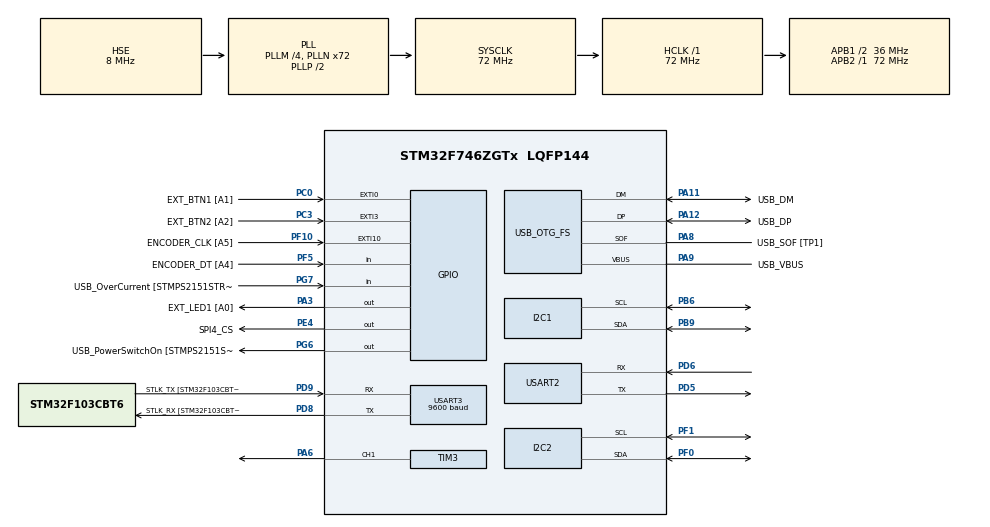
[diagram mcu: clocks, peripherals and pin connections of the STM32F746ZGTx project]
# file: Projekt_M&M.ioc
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I2C1.Timing=0x00808CD2
I2C2.Timing=0x00808CD2
Mcu.Family=STM32F7
Mcu.Name=STM32F746ZGTx
Mcu.Package=LQFP144
NVIC.EXTI0_IRQn=true\:0\:0\:false\:false\:true\:true\:true
NVIC.EXTI15_10_IRQn=true\:0\:0\:false\:false\:true\:true\:true
NVIC.EXTI3_IRQn=true\:0\:0\:false\:false\:true\:true\:true
NVIC.PriorityGroup=NVIC_PRIORITYGROUP_4
NVIC.TIM3_IRQn=true\:0\:0\:false\:false\:true\:true\:true
NVIC.TIM4_IRQn=true\:0\:0\:false\:false\:true\:true\:true
NVIC.USART2_IRQn=true\:0\:0\:false\:false\:true\:true\:true
NVIC.USART3_IRQn=true\:0\:0\:false\:false\:true\:true\:true
PA1.GPIO_Label=RMII_REF_CLK [LAN8742A-CZ-TR_REFCLK0]
PA1.Signal=ETH_REF_CLK
PA10.GPIO_Label=USB_ID
PA10.Signal=USB_OTG_FS_ID
PA11.GPIO_Label=USB_DM
PA11.Mode=Device_Only
PA11.Signal=USB_OTG_FS_DM
PA12.GPIO_Label=USB_DP
PA12.Mode=Device_Only
PA12.Signal=USB_OTG_FS_DP
PA13.GPIO_Label=TMS
PA13.Mode=Serial_Wire
PA13.Signal=SYS_JTMS-SWDIO
PA14.GPIO_Label=TCK
PA14.Mode=Serial_Wire
PA14.Signal=SYS_JTCK-SWCLK
PA2.GPIO_Label=RMII_MDIO [LAN8742A-CZ-TR_MDIO]
PA2.Signal=ETH_MDIO
PA3.GPIO_Label=EXT_LED1 [A0]
PA3.Signal=GPIO_Output
PA6.Signal=S_TIM3_CH1
PA7.GPIO_Label=RMII_CRS_DV [LAN8742A-CZ-TR_CRS_DV]
PA7.Signal=ETH_CRS_DV
PA8.GPIO_Label=USB_SOF [TP1]
PA8.Mode=Activate_SOF_FS
PA8.Signal=USB_OTG_FS_SOF
PA9.GPIO_Label=USB_VBUS
PA9.Mode=Activate_VBUS
PA9.Signal=USB_OTG_FS_VBUS
PB13.GPIO_Label=RMII_TXD1 [LAN8742A-CZ-TR_TXD1]
PB13.Signal=ETH_TXD1
PB3.GPIO_Label=SW0
PB3.Signal=SYS_JTDO-SWO
PB6.Mode=I2C
PB6.Signal=I2C1_SCL
PB9.Mode=I2C
PB9.Signal=I2C1_SDA
PC0.GPIO_Label=EXT_BTN1 [A1]
PC0.GPIO_ModeDefaultEXTI=GPIO_MODE_IT_FALLING
PC0.Signal=GPXTI0
PC1.GPIO_Label=RMII_MDC [LAN8742A-CZ-TR_MDC]
PC1.Signal=ETH_MDC
PC14/OSC32_IN.Mode=LSE-External-Oscillator
PC14/OSC32_IN.Signal=RCC_OSC32_IN
PC15/OSC32_OUT.Mode=LSE-External-Oscillator
PC15/OSC32_OUT.Signal=RCC_OSC32_OUT
PC3.GPIO_Label=EXT_BTN2 [A2]
PC3.GPIO_ModeDefaultEXTI=GPIO_MODE_IT_RISING
PC3.Signal=GPXTI3
PC4.GPIO_Label=RMII_RXD0 [LAN8742A-CZ-TR_RXD0]
PC4.Signal=ETH_RXD0
PC5.GPIO_Label=RMII_RXD1 [LAN8742A-CZ-TR_RXD1]
PC5.Signal=ETH_RXD1
PD5.Mode=Asynchronous
PD5.Signal=USART2_TX
PD6.Mode=Asynchronous
PD6.Signal=USART2_RX
PD8.GPIO_Label=STLK_RX [STM32F103CBT6_PA3]
PD8.Mode=Asynchronous
PD8.Signal=USART3_TX
PD9.GPIO_Label=STLK_TX [STM32F103CBT6_PA2]
PD9.Mode=Asynchronous
PD9.Signal=USART3_RX
PE4.GPIO_Label=SPI4_CS
PE4.Signal=GPIO_Output
PF0.Mode=I2C
PF0.Signal=I2C2_SDA
PF1.Mode=I2C
PF1.Signal=I2C2_SCL
PF10.GPIO_Label=ENCODER_CLK [A5]
PF10.Signal=GPXTI10
PF5.GPIO_Label=ENCODER_DT [A4]
PF5.Signal=GPIO_Input
PG11.GPIO_Label=RMII_TX_EN [LAN8742A-CZ-TR_TXEN]
PG11.Signal=ETH_TX_EN
PG13.GPIO_Label=RMII_TXD0 [LAN8742A-CZ-TR_TXD0]
PG13.Signal=ETH_TXD0
PG6.GPIO_Label=USB_PowerSwitchOn [STMPS2151STR_EN]
PG6.Signal=GPIO_Output
PG7.GPIO_Label=USB_OverCurrent [STMPS2151STR_FAULT]
PG7.Signal=GPIO_Input
PH0/OSC_IN.GPIO_Label=MCO [STM32F103CBT6_PA8]
PH0/OSC_IN.Mode=HSE-External-Clock-Source
PH0/OSC_IN.Signal=RCC_OSC_IN
PH1/OSC_OUT.Mode=HSE-External-Clock-Source
PH1/OSC_OUT.Signal=RCC_OSC_OUT
ProjectManager.HeapSize=0x200
ProjectManager.StackSize=0x400
ProjectManager.TargetToolchain=STM32CubeIDE
RCC.48MHZClocksFreq_Value=24000000
RCC.AHBFreq_Value=72000000
RCC.APB1CLKDivider=RCC_HCLK_DIV2
RCC.APB1Freq_Value=36000000
RCC.APB1TimFreq_Value=72000000
RCC.APB2Freq_Value=72000000
RCC.APB2TimFreq_Value=72000000
RCC.CortexFreq_Value=72000000
RCC.HCLKFreq_Value=72000000
RCC.HSE_VALUE=8000000
RCC.HSI_VALUE=16000000
RCC.PLLM=4
RCC.PLLMUL=RCC_PLL_MUL9
RCC.PLLN=72
RCC.PLLQ=3
RCC.PRESCALERUSB=RCC_USBCLKSOURCE_PLL_DIV1_5
RCC.SYSCLKFreq_VALUE=72000000
RCC.SYSCLKSource=RCC_SYSCLKSOURCE_PLLCLK
RCC.SYSCLKSourceVirtual=RCC_SYSCLKSOURCE_PLLCLK
RCC.USBFreq_Value=48000000
RCC.VCOOutputFreq_Value=144000000
SH.S_TIM3_CH1.0=TIM3_CH1,PWM Generation1 CH1
TIM3.Channel-PWM\ Generation1\ CH1=TIM_CHANNEL_1
TIM3.Period=999
TIM3.Prescaler=71
TIM3.Pulse-PWM\ Generation1\ CH1=500
TIM4.Period=9999
TIM4.Prescaler=7199
USART2.VirtualMode-Asynchronous=VM_ASYNC
USART3.BaudRate=9600
USART3.VirtualMode-Asynchronous=VM_ASYNC
USB_OTG_FS.VirtualMode=Device_Only
VP_TIM3_VS_ClockSourceINT.Mode=Internal
VP_TIM4_VS_ClockSourceINT.Mode=Internal
board=NUCLEO-F746ZG

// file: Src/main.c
/* USER CODE BEGIN Header */
/**
  ******************************************************************************
  * @file           : main.c
  * @brief          : Main program body
  ******************************************************************************
  * @attention
  *
  * <h2><center>&copy; Copyright (c) 2019 STMicroelectronics.
  * All rights reserved.</center></h2>
  *
  * This software component is licensed by ST under BSD 3-Clause license,
  * the "License"; You may not use this file except in compliance with the
  * License. You may obtain a copy of the License at:
  *                        opensource.org/licenses/BSD-3-Clause
  *
  ******************************************************************************
  */
/* USER CODE END Header */

#include "main.h"
#include "i2c.h"
#include "tim.h"
#include "usart.h"
#include "usb_otg.h"
#include "gpio.h"

/* USER CODE BEGIN Includes */

#include "bh1750.h"
#include "i2c-lcd.h"

#include "arm_math.h"
#include "math_helper.h"

#include "stdio.h"
#include "string.h"

/* USER CODE END Includes */

/* USER CODE BEGIN PV */
/* PRZYPISANIE WARTOSCI POSZCZEGOLNYCH CZLONOW REGULATORA */
float Kp = 0.25f;
float Kd = 0.001f;
float Ki = 0.08f;
/* ZMIENNE PRZECHOWUJACE WARTOSCI ZADANE, POMIAR, ORAZ WIADOMOSC DO LCD */
int BH1750_int = 0;
int Setpoint = 0;
int Uart_data[4];
char LCD_msg[16];

/* INSTANCJA PID */
arm_pid_instance_f32 reg_PID;

/* USER CODE END PV */

void SystemClock_Config(void);

int main(void)
{
  /* USER CODE BEGIN 1 */

/* PRZEKAZANIE WARTOSCI CZLONOW REGULATORA DO SAMEGO PID */
  reg_PID.Kp = Kp;
  reg_PID.Ki = Ki;
  reg_PID.Kd = Kd;
  /* USER CODE END 1 */

  /* MCU Configuration--------------------------------------------------------*/

  /* Reset of all peripherals, Initializes the Flash interface and the Systick. */
  HAL_Init();

  /* Configure the system clock */
  SystemClock_Config();

  /* Initialize all configured peripherals */
  MX_GPIO_Init();
  MX_USART3_UART_Init();
  MX_USB_OTG_FS_PCD_Init();
  MX_I2C1_Init();
  MX_TIM3_Init();
  MX_I2C2_Init();
  MX_TIM4_Init();
  MX_USART2_UART_Init();
  /* USER CODE BEGIN 2 */

  /* INICJALIZACJA WSZYSTKICH KONFIGURACJI CZUJNIKA, EKRANU LCD ORAZ REGULATORA PID */
  BH1750_Init(&hi2c1);
  BH1750_SetMode(CONTINUOUS_HIGH_RES_MODE_2);
  lcd_init();
  arm_pid_init_f32(&reg_PID, 1);

  /* ROZPOCZECIE PRACY ORAZ PRZERWAN PWM PRZEZ TIMERY */
  HAL_TIM_Base_Start_IT(&htim4);
  HAL_TIM_PWM_Start(&htim3, TIM_CHANNEL_1);

  /* ROZPOCZECIE NASLUCHIWANIA */
  HAL_UART_Receive_IT(&huart3, &Uart_data, 4);

  /* USER CODE END 2 */

  /* Infinite loop */
  /* USER CODE BEGIN WHILE */
  while (1)
  {

	  	  	  	BH1750_int = ReadData();
	  	  	  	SetValue(Setpoint, BH1750_int, &reg_PID);
	  	  	  	HAL_Delay(200);
    /* USER CODE END WHILE */

  }
}

void SystemClock_Config(void)
{
  RCC_OscInitTypeDef RCC_OscInitStruct = {0};
  RCC_ClkInitTypeDef RCC_ClkInitStruct = {0};
  RCC_PeriphCLKInitTypeDef PeriphClkInitStruct = {0};

  /** Configure LSE Drive Capability
  */
  HAL_PWR_EnableBkUpAccess();
  /** Configure the main internal regulator output voltage
  */
  __HAL_RCC_PWR_CLK_ENABLE();
  __HAL_PWR_VOLTAGESCALING_CONFIG(PWR_REGULATOR_VOLTAGE_SCALE3);
  /** Initializes the CPU, AHB and APB busses clocks
  */
  RCC_OscInitStruct.OscillatorType = RCC_OSCILLATORTYPE_HSE;
  RCC_OscInitStruct.HSEState = RCC_HSE_BYPASS;
  RCC_OscInitStruct.PLL.PLLState = RCC_PLL_ON;
  RCC_OscInitStruct.PLL.PLLSource = RCC_PLLSOURCE_HSE;
  RCC_OscInitStruct.PLL.PLLM = 4;
  RCC_OscInitStruct.PLL.PLLN = 72;
  RCC_OscInitStruct.PLL.PLLP = RCC_PLLP_DIV2;
  RCC_OscInitStruct.PLL.PLLQ = 3;
  if (HAL_RCC_OscConfig(&RCC_OscInitStruct) != HAL_OK)
  {
    Error_Handler();
  }
  /** Initializes the CPU, AHB and APB busses clocks
  */
  RCC_ClkInitStruct.ClockType = RCC_CLOCKTYPE_HCLK|RCC_CLOCKTYPE_SYSCLK
                              |RCC_CLOCKTYPE_PCLK1|RCC_CLOCKTYPE_PCLK2;
  RCC_ClkInitStruct.SYSCLKSource = RCC_SYSCLKSOURCE_PLLCLK;
  RCC_ClkInitStruct.AHBCLKDivider = RCC_SYSCLK_DIV1;
  RCC_ClkInitStruct.APB1CLKDivider = RCC_HCLK_DIV2;
  RCC_ClkInitStruct.APB2CLKDivider = RCC_HCLK_DIV1;

  if (HAL_RCC_ClockConfig(&RCC_ClkInitStruct, FLASH_LATENCY_2) != HAL_OK)
  {
    Error_Handler();
  }
  PeriphClkInitStruct.PeriphClockSelection = RCC_PERIPHCLK_USART2|RCC_PERIPHCLK_USART3
                              |RCC_PERIPHCLK_I2C1|RCC_PERIPHCLK_I2C2
                              |RCC_PERIPHCLK_CLK48;
  PeriphClkInitStruct.Usart2ClockSelection = RCC_USART2CLKSOURCE_PCLK1;
  PeriphClkInitStruct.Usart3ClockSelection = RCC_USART3CLKSOURCE_PCLK1;
  PeriphClkInitStruct.I2c1ClockSelection = RCC_I2C1CLKSOURCE_PCLK1;
  PeriphClkInitStruct.I2c2ClockSelection = RCC_I2C2CLKSOURCE_PCLK1;
  PeriphClkInitStruct.Clk48ClockSelection = RCC_CLK48SOURCE_PLL;
  if (HAL_RCCEx_PeriphCLKConfig(&PeriphClkInitStruct) != HAL_OK)
  {
    Error_Handler();
  }
}

/* USER CODE BEGIN 4 */
void HAL_TIM_PeriodElapsedCallback (TIM_HandleTypeDef * htim)
{
	 /* jezeli przerwanie zegarowe pochodzi od TIM4
	to wykonuje sie proces odswieżania ekranu */
	if(htim->Instance == TIM4)
	{
		RefreshLCD(Setpoint, BH1750_int);
	}
}
void HAL_UART_RxCpltCallback(UART_HandleTypeDef *huart)
{
	Setpoint = atoi(Uart_data);
	HAL_UART_Receive_IT(&huart3, &Uart_data, 4);
}
void HAL_GPIO_EXTI_Callback(uint16_t GPIO_Pin)
{

}
/* USER CODE END 4 */

void Error_Handler(void)
{
  /* USER CODE BEGIN Error_Handler_Debug */
  /* User can add his own implementation to report the HAL error return state */
  //HAL_GPIO_WritePin(LD1_GPIO_Port, LD1_Pin, GPIO_PIN_RESET);
 // HAL_GPIO_WritePin(LD2_GPIO_Port, LD2_Pin, GPIO_PIN_RESET);
 // HAL_GPIO_WritePin(LD3_GPIO_Port, LD3_Pin, GPIO_PIN_RESET);
  while(1)
  {
	//  HAL_GPIO_TogglePin(LD3_GPIO_Port, LD3_Pin);
	  HAL_Delay(100);
  }
  /* USER CODE END Error_Handler_Debug */
}

/************************ (C) COPYRIGHT STMicroelectronics *****END OF FILE****/
